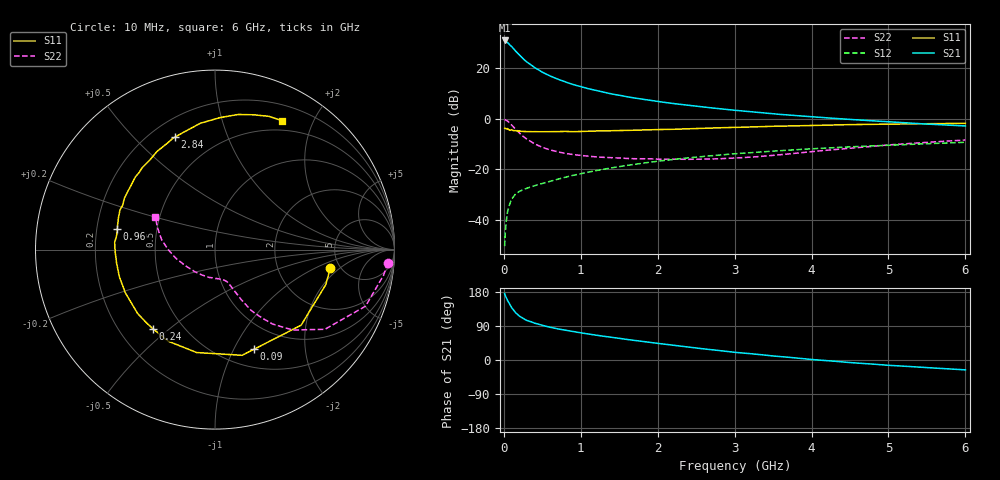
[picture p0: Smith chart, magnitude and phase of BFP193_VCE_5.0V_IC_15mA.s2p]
! Infineon Technologies  Discrete & RF Semiconductors
! BFP193
! VCE = 5.0 V,  IC =  15 mA
! Common Emitter S-Parameters:  Jan 2016
# GHz  S  MA  R  50
!  f  S11  S21  S12  S22
! GHz  MAG  ANG  MAG  ANG  MAG  ANG  MAG  ANG
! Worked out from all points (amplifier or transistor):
!   210 points, 10 MHz to 6 GHz, reference 50 ohm
!   highest |S21| = 31.0 dB at 10 MHz (marker M1)
!   |S21| within 3 dB of that: start of sweep to 118.5 MHz
!   unconditionally stable (mu >= 1): 878.5 MHz to 3.77 GHz
!   at 185 MHz: K = 0.41, MSG = 27.4 dB, |S12| = -29.1 dB
!   at 1.52 GHz: K = 1.07, MAG = 12.4 dB, |S12| = -18.9 dB
!   at 6 GHz: K = 0.91, MSG = 3.2 dB, |S12| = -9.3 dB
!   S11 on the Smith chart (normalised r, x): 10 MHz: 4.19, -1.46; 90 MHz: 0.70, -1.20; 240 MHz: 0.34, -0.44; 960 MHz: 0.29, +0.09; 2.84 GHz: 0.30, +0.66; 6 GHz: 0.38, +1.58
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0.01  0.6509 -8.9  35.41 175.5  0.003 87.3  0.9651 -4.4
0.02  0.6475 -17.5  34.49 169.3  0.0059 83.8  0.9503 -8.6
0.05  0.6384 -41.3  32.13 156.2  0.0149 73.5  0.8961 -20.6
0.09  0.5962 -68.7  27.84 142.3  0.0233 62.0  0.779 -32.5
0.1  0.608 -75.6  27.07 138.2  0.0255 60.3  0.756 -36.0
0.15  0.5825 -100.1  22.03 125.0  0.032 52.9  0.6227 -46.0
0.2  0.5732 -117.2  18.36 116.1  0.0363 49.0  0.524 -52.3
0.24  0.5602 -128.2  15.95 110.8  0.0388 47.8  0.4619 -55.5
0.26  0.5588 -132.9  14.94 108.3  0.0399 47.4  0.4359 -56.9
0.3  0.5591 -140.4  13.24 104.3  0.042 47.1  0.3933 -59.3
0.4  0.5546 -154.3  10.28 97.2  0.0473 47.5  0.3173 -62.2
0.5  0.5538 -164.0  8.331 91.4  0.0522 48.8  0.2714 -63.9
0.7  0.5563 -178.6  6.078 82.1  0.0633 51.8  0.2206 -66.6
0.96  0.5563 168.3  4.477 73.1  0.0791 53.2  0.1905 -69.7
1.02  0.5603 165.3  4.226 71.1  0.0826 53.5  0.1863 -70.7
1.4  0.5799 150.7  3.095 59.9  0.1061 53.0  0.1697 -78.2
2.02  0.6108 131.1  2.173 43.4  0.1453 48.9  0.158 -95.9
2.84  0.665 109.7  1.557 24.0  0.1932 41.0  0.1621 -126.7
3.1  0.6786 104.3  1.424 18.6  0.2074 38.3  0.1696 -136.9
4.1  0.7403 86.3  1.066 -0.1  0.2587 27.8  0.2305 -170.5
5.1  0.7845 72.8  0.852 -15.1  0.303 17.2  0.3095 167.2
6  0.8095 62.6  0.719 -26.0  0.341 7.7  0.3791 151.4
